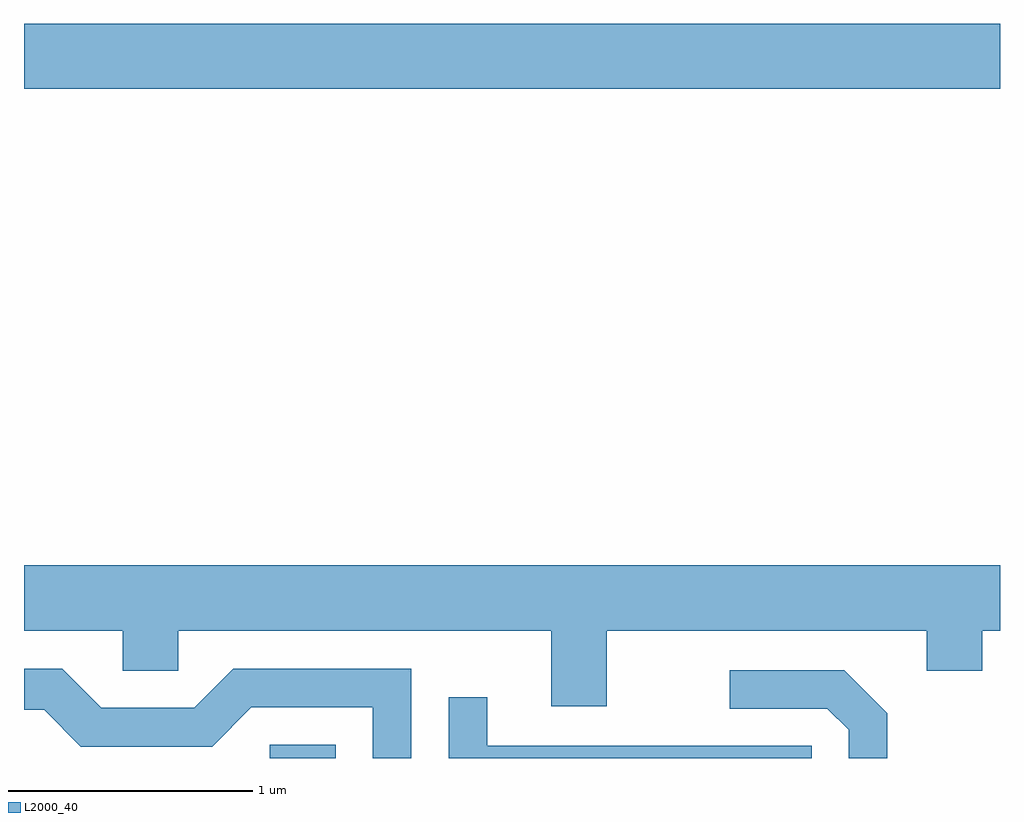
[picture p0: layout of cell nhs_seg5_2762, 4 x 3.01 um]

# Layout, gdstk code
import gdstk
lib = gdstk.Library(unit=1e-6, precision=1e-09)
def R(c, l, rs):  # rectangles x0, y0, x1, y1
    for r in rs: c.add(gdstk.rectangle(r[:2], r[2:], *l))
def P(c, l, *ps):  # polygons
    for p in ps: c.add(gdstk.Polygon(p, *l))
L2000_40 = (2000, 40)

nhs_seg5_2762 = lib.new_cell('nhs_seg5_2762')
R(nhs_seg5_2762, L2000_40, [(268.618,1434.072,268.889,1434.129), (267.611,1436.816,271.611,1437.084)])
P(nhs_seg5_2762, L2000_40, [(269.999,1434.596),(271.311,1434.596),(271.311,1434.431),(271.539,1434.431),(271.539,1434.596),(271.611,1434.596),(271.611,1434.864),(267.611,1434.864),(267.611,1434.596),(268.016,1434.596),(268.016,1434.431),(268.244,1434.431),(268.244,1434.596),(269.771,1434.596),(269.771,1434.286),(269.999,1434.286)],
  [(269.199,1434.439),(268.469,1434.439),(268.309,1434.279),(267.927,1434.279),(267.767,1434.439),(267.611,1434.439),(267.611,1434.271),(267.694,1434.271),(267.844,1434.121),(268.382,1434.121),(268.542,1434.281),(269.041,1434.281),(269.041,1434.072),(269.199,1434.072)],
  [(271.149,1434.257),(270.972,1434.434),(270.503,1434.434),(270.503,1434.276),(270.904,1434.276),(270.991,1434.189),(270.991,1434.072),(271.149,1434.072)],
  [(270.839,1434.124),(269.509,1434.124),(269.509,1434.323),(269.351,1434.323),(269.351,1434.072),(270.839,1434.072)])

lib.write_gds('nhs_seg5_2762.gds')
